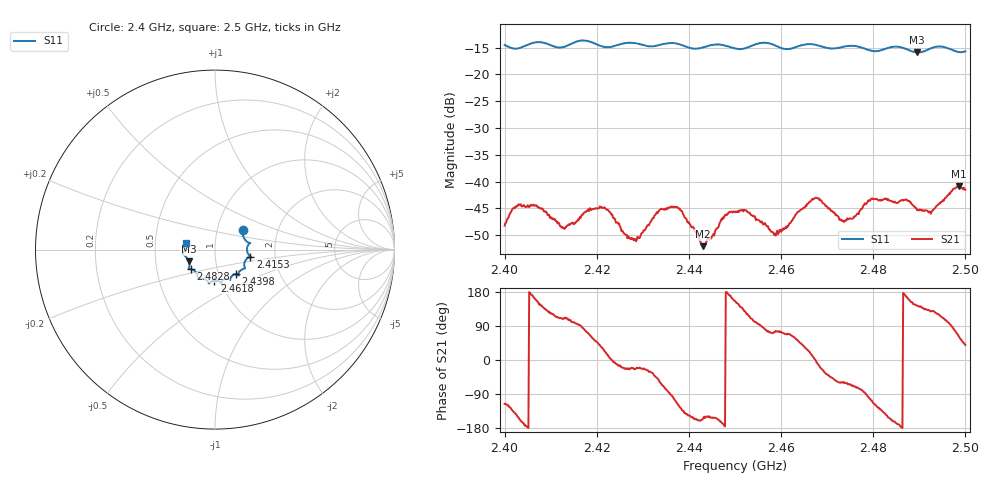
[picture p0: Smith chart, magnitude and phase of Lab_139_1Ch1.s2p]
# Hz S RI R 50
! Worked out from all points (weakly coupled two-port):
!   601 points, 2.4 GHz to 2.5 GHz, reference 50 ohm
!   highest |S21| = -40.88 dB at 2.4987 GHz (marker M1); lowest = -52.0 dB at 2.443 GHz (marker M2)
!   lowest |S11| = -15.9 dB at 2.4895 GHz (marker M3), VSWR 1.38, Z = 37 - j5.01 ohm
!   |S11| at or under -10 dB: start of sweep to end of sweep
!   S12 and S22 are empty: the file has one direction only
!   S11 on the Smith chart (normalised r, x): 2.4 GHz: 1.33, +0.29; 2.4153 GHz: 1.48, -0.12; 2.4398 GHz: 1.21, -0.34; 2.4618 GHz: 0.94, -0.33; 2.4828 GHz: 0.74, -0.17; 2.5 GHz: 0.72, +0.06
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2.4e9  0.1547 0.1066  -0.00169 -0.0035  0 0  0 0
2.403167e9  0.1663 0.0571  -0.00552 -0.00252  0 0  0 0
2.4125e9  0.1787 -0.00763  -0.00126 0.00357  0 0  0 0
2.415333e9  0.1963 -0.0391  -0.000516 0.00406  0 0  0 0
2.416667e9  0.2024 -0.0429  0.000114 0.00483  0 0  0 0
2.422e9  0.1675 -0.0645  0.00522 0.00183  0 0  0 0
2.428167e9  0.1662 -0.1042  0.00265 -0.00119  0 0  0 0
2.433333e9  0.1304 -0.134  0.00332 -0.00405  0 0  0 0
2.437167e9  0.1314 -0.1435  -0.00191 -0.0055  0 0  0 0
2.439833e9  0.1151 -0.1361  -0.00346 -0.00229  0 0  0 0
2.443e9  0.0884 -0.1546  -0.00229 -0.00102  0 0  0 0
2.45e9  0.0652 -0.1622  -0.00473 0.00213  0 0  0 0
2.4585e9  0.0345 -0.1848  0.000902 0.00306  0 0  0 0
2.461833e9  -0.00327 -0.1727  0.00151 0.00381  0 0  0 0
2.466667e9  -0.0351 -0.1881  0.00663 0.00152  0 0  0 0
2.473667e9  -0.0863 -0.1598  0.0022 -0.00358  0 0  0 0
2.482833e9  -0.1363 -0.1088  -0.00569 -0.00392  0 0  0 0
2.483333e9  -0.14 -0.1085  -0.00592 -0.00314  0 0  0 0
2.4895e9  -0.1459 -0.066  -0.00436 0.00323  0 0  0 0
2.4925e9  -0.1723 -0.0301  -0.00311 0.00394  0 0  0 0
2.498667e9  -0.1607 0.0153  0.00439 0.0079  0 0  0 0
2.5e9  -0.1595 0.039  0.0065 0.00537  0 0  0 0
